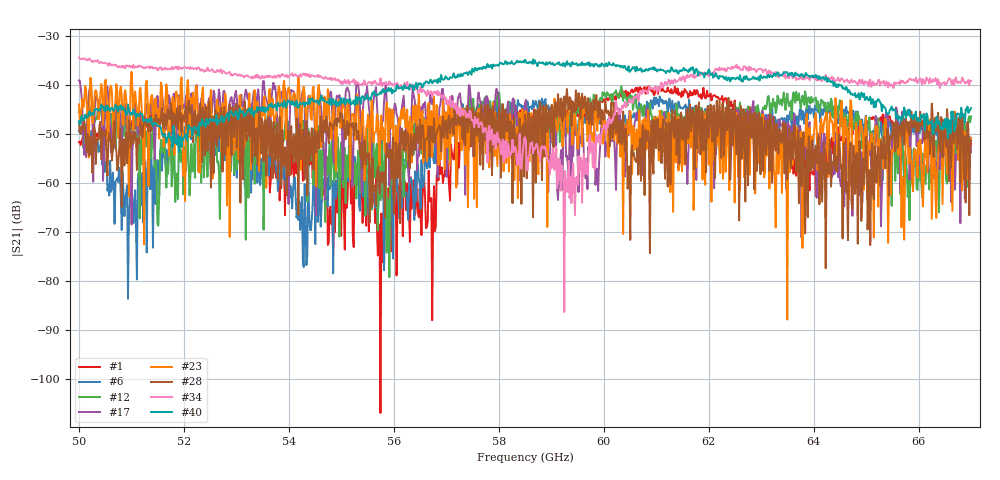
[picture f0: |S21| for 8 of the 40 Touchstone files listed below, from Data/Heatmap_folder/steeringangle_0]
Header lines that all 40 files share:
!Created with skrf (http://scikit-rf.org).
# GHz S RI R 50.0
!freq ReS11 ImS11 ReS21 ImS21 ReS12 ImS12 ReS22 ImS22
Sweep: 50 GHz to 67 GHz
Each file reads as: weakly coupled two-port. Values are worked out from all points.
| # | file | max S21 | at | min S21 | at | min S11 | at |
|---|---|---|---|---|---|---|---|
| 1 | az=41_el=0.s2p | -40.25 dB | 60.86 GHz | -107.0 dB | 55.75 GHz | -50.9 dB | 62.56 GHz |
| 2 | az=42_el=0.s2p | -40.53 dB | 60.61 GHz | -80.0 dB | 52.45 GHz | -54.0 dB | 62.56 GHz |
| 3 | az=43_el=0.s2p | -41.82 dB | 60.28 GHz | -79.4 dB | 50.97 GHz | -52.5 dB | 62.56 GHz |
| 4 | az=44_el=0.s2p | -41.63 dB | 59.32 GHz | -89.8 dB | 54.08 GHz | -49.0 dB | 62.56 GHz |
| 5 | az=45_el=0.s2p | -42.27 dB | 58.92 GHz | -76.1 dB | 53.31 GHz | -48.0 dB | 62.56 GHz |
| 6 | az=46_el=0.s2p | -42.37 dB | 61.07 GHz | -83.7 dB | 50.94 GHz | -66.6 dB | 62.56 GHz |
| 7 | az=47_el=0.s2p | -42.34 dB | 60.8 GHz | -74.0 dB | 53.66 GHz | -53.3 dB | 62.56 GHz |
| 8 | az=48_el=0.s2p | -40.50 dB | 62.75 GHz | -68.5 dB | 51.97 GHz | -47.7 dB | 67 GHz |
| 9 | az=49_el=0.s2p | -39.55 dB | 62.09 GHz | -73.1 dB | 66.83 GHz | -49.9 dB | 67 GHz |
| 10 | az=50_el=0.s2p | -38.61 dB | 60.85 GHz | -84.1 dB | 53.59 GHz | -49.5 dB | 67 GHz |
| 11 | az=51_el=0.s2p | -39.84 dB | 60.42 GHz | -80.9 dB | 53.18 GHz | -51.9 dB | 67 GHz |
| 12 | az=52_el=0.s2p | -40.29 dB | 60.34 GHz | -79.3 dB | 55.92 GHz | -60.4 dB | 67 GHz |
| 13 | az=53_el=0.s2p | -39.77 dB | 62.99 GHz | -91.2 dB | 54.08 GHz | -57.9 dB | 67 GHz |
| 14 | az=54_el=0.s2p | -40.93 dB | 61.54 GHz | -84.3 dB | 54.74 GHz | -45.3 dB | 67 GHz |
| 15 | az=55_el=0.s2p | -40.32 dB | 50.19 GHz | -77.2 dB | 56.99 GHz | -50.5 dB | 67 GHz |
| 16 | az=56_el=0.s2p | -37.29 dB | 50.02 GHz | -74.4 dB | 66.85 GHz | -44.2 dB | 62.56 GHz |
| 17 | az=57_el=0.s2p | -39.11 dB | 50 GHz | -71.3 dB | 63.77 GHz | -48.8 dB | 62.38 GHz |
| 18 | az=58_el=0.s2p | -39.78 dB | 52.23 GHz | -79.1 dB | 59.62 GHz | -43.5 dB | 62.51 GHz |
| 19 | az=59_el=0.s2p | -40.81 dB | 52.02 GHz | -80.0 dB | 63.29 GHz | -44.8 dB | 62.56 GHz |
| 20 | az=60_el=0.s2p | -37.78 dB | 50.88 GHz | -81.1 dB | 61.81 GHz | -44.3 dB | 62.51 GHz |
| 21 | az=61_el=0.s2p | -37.64 dB | 52.04 GHz | -89.7 dB | 58.87 GHz | -46.7 dB | 62.38 GHz |
| 22 | az=62_el=0.s2p | -37.21 dB | 52.14 GHz | -85.4 dB | 65.52 GHz | -48.5 dB | 62.65 GHz |
| 23 | az=63_el=0.s2p | -37.35 dB | 51 GHz | -88.0 dB | 63.5 GHz | -45.6 dB | 62.65 GHz |
| 24 | az=64_el=0.s2p | -38.69 dB | 53.91 GHz | -74.7 dB | 66.93 GHz | -46.1 dB | 62.65 GHz |
| 25 | az=65_el=0.s2p | -39.49 dB | 54.01 GHz | -79.6 dB | 66.22 GHz | -50.6 dB | 62.56 GHz |
| 26 | az=66_el=0.s2p | -41.79 dB | 58.7 GHz | -80.8 dB | 61.9 GHz | -50.7 dB | 62.38 GHz |
| 27 | az=67_el=0.s2p | -40.85 dB | 59.98 GHz | -82.5 dB | 64.3 GHz | -50.3 dB | 62.65 GHz |
| 28 | az=68_el=0.s2p | -40.85 dB | 59.3 GHz | -77.5 dB | 64.23 GHz | -52.4 dB | 62.65 GHz |
| 29 | az=69_el=0.s2p | -41.98 dB | 58.74 GHz | -75.2 dB | 55.32 GHz | -47.6 dB | 62.38 GHz |
| 30 | az=70_el=0.s2p | -41.87 dB | 58.74 GHz | -81.9 dB | 61.73 GHz | -49.3 dB | 62.38 GHz |
| 31 | az=-1_el=0.s2p | -33.33 dB | 65.72 GHz | -44.7 dB | 61.7 GHz | -39.3 dB | 62.16 GHz |
| 32 | az=-2_el=0.s2p | -31.56 dB | 54.27 GHz | -69.3 dB | 62.04 GHz | -41.5 dB | 62.16 GHz |
| 33 | az=-3_el=0.s2p | -31.92 dB | 50 GHz | -46.8 dB | 66.69 GHz | -43.2 dB | 62.16 GHz |
| 34 | az=-4_el=0.s2p | -34.37 dB | 50 GHz | -86.4 dB | 59.25 GHz | -44.1 dB | 62.16 GHz |
| 35 | az=-5_el=0.s2p | -36.45 dB | 62.66 GHz | -52.9 dB | 54.28 GHz | -43.0 dB | 62.16 GHz |
| 36 | az=-6_el=0.s2p | -35.67 dB | 57.68 GHz | -54.4 dB | 50.02 GHz | -46.3 dB | 62.16 GHz |
| 37 | az=-7_el=0.s2p | -37.30 dB | 57.53 GHz | -50.2 dB | 59.77 GHz | -46.9 dB | 62.16 GHz |
| 38 | az=-8_el=0.s2p | -34.58 dB | 61.19 GHz | -47.7 dB | 57.16 GHz | -47.8 dB | 62.16 GHz |
| 39 | az=-9_el=0.s2p | -33.64 dB | 61.51 GHz | -48.7 dB | 53.31 GHz | -44.6 dB | 62.16 GHz |
| 40 | az=-10_el=0.s2p | -34.80 dB | 58.65 GHz | -53.8 dB | 51.9 GHz | -49.3 dB | 62.16 GHz |
